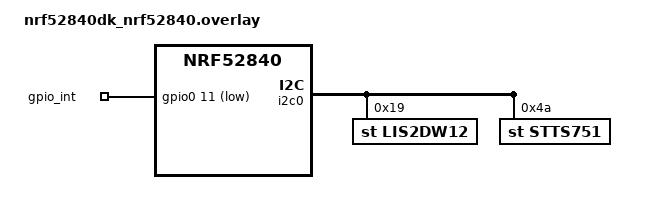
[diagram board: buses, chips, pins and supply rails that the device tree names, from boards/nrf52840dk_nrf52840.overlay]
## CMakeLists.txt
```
cmake_minimum_required(VERSION 3.20.0)
find_package(Zephyr REQUIRED HINTS $ENV{ZEPHYR_BASE})
project(renode_example)

file(GLOB app_sources src/*.c)
target_sources(app PRIVATE ${app_sources})
```

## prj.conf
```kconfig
CONFIG_I2C=y
CONFIG_GPIO=y
CONFIG_SENSOR=y

CONFIG_PRINTK=y
CONFIG_SHELL=y
CONFIG_GPIO_SHELL=y
CONFIG_SENSOR_SHELL=y

CONFIG_LOG=y
CONFIG_SENSOR_LOG_LEVEL_DBG=y

# CONFIG_BT=y
# CONFIG_BT_SHELL=y
# CONFIG_BT_PERIPHERAL=y
# CONFIG_BT_DEVICE_NAME="Test beacon"
```

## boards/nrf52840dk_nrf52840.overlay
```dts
/ {
	inputs {
		compatible = "gpio-keys";
		gpio_int {
			gpios = <&gpio0 11 (GPIO_ACTIVE_LOW | GPIO_PULL_UP)>;
		};
	};
};
&i2c0 {
	status = "okay";

	lis2dw12: lis2dw12@19 {
		compatible = "st,lis2dw12";
		status = "okay";
		reg = <0x19>;
	};

	stts751: stts751@4a {
		compatible = "st,stts751";
		status = "okay";
		reg = <0x4a>;
	};
};
```

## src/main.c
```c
#include <zephyr/drivers/gpio.h>
#include <zephyr/kernel.h>
#include <zephyr/shell/shell.h>
#include <zephyr/shell/shell_uart.h>

#include <stddef.h>
#include <stdint.h>
#include <stdlib.h>

static struct gpio_callback prv_gpio_cb;
static struct gpio_dt_spec prv_gpio_int = GPIO_DT_SPEC_GET(DT_PATH(inputs, gpio_int), gpios);

/**
 * @brief Prints "pong" to the shell.
 */
static int cmd_ping(const struct shell *shell, size_t argc, char **argv)
{
	shell_print(shell, "pong");
	return 0;
}

SHELL_CMD_REGISTER(ping, NULL, "ping", cmd_ping);

static void prv_interrupt_handler(const struct device *dev, struct gpio_callback *cb, uint32_t pin)
{
	shell_print(shell_backend_uart_get_ptr(), "GPIO Interrupt fired\n\n\n");
}

static void prv_configure_interrupt_gpio(struct gpio_callback *gpio_cb,
					 const struct gpio_dt_spec *gpio)
{
	__ASSERT(device_is_ready(gpio->port), "GPIO for interrupt not ready");

	int rc = gpio_pin_configure_dt(gpio, GPIO_INPUT);
	__ASSERT(!rc, "failed to configure gpio_int pin %d (err=%d)", gpio->pin, rc);

	/* Prepare GPIO callback for interrupt pin */
	gpio_init_callback(gpio_cb, prv_interrupt_handler, BIT(gpio->pin));

	rc = gpio_add_callback(gpio->port, gpio_cb);
	__ASSERT(!rc, "failed to add callback (err=%d)", rc);

	rc = gpio_pin_interrupt_configure_dt(gpio, GPIO_INT_EDGE_TO_ACTIVE);
	__ASSERT(!rc, "failed to configure attn_p_gpio pin %d as interrupt (err=%d)", rc);
}

int main(void)
{
	prv_configure_interrupt_gpio(&prv_gpio_cb, &prv_gpio_int);

	return 0;
}
```
